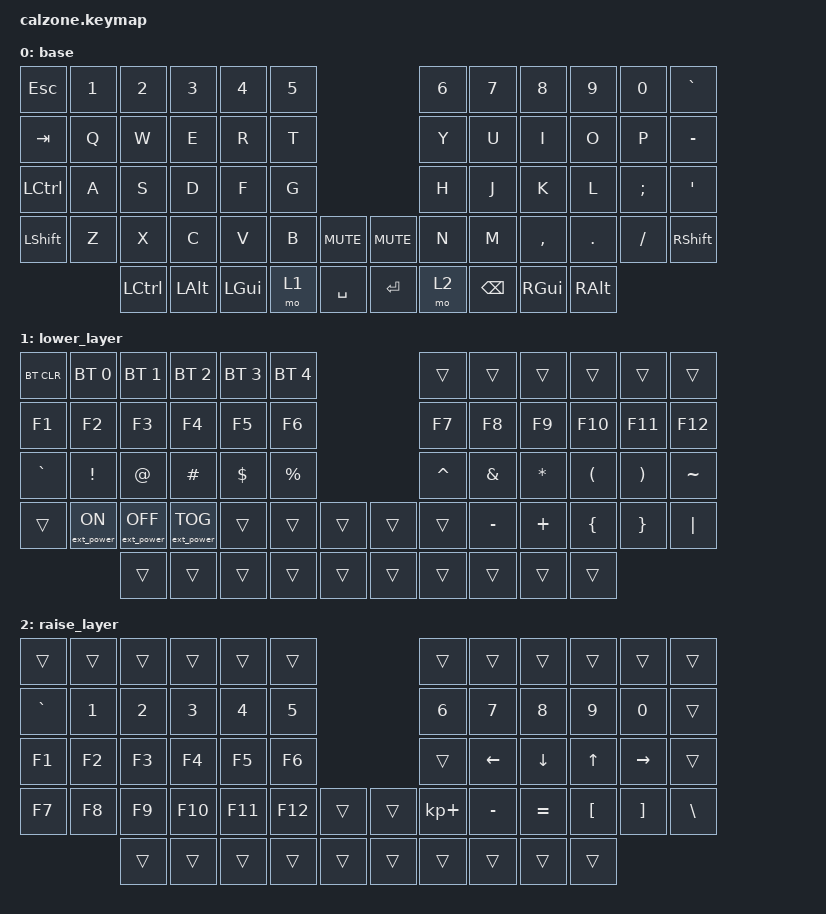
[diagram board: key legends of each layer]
#include <behaviors.dtsi>
#include <dt-bindings/zmk/bt.h>
#include <dt-bindings/zmk/ext_power.h>
#include <dt-bindings/zmk/keys.h>

/ {
    combos {
        compatible = "zmk,combos";

        bt_sel_3 {
            bindings = <&bt3>;
            key-positions = <42 30>;
            layers = <2>;
        };

        bt_sel_4 {
            bindings = <&bt4>;
            key-positions = <30 18>;
            layers = <2>;
        };
    };

    macros {
        bt_clr_0: bt_clr_0 {
            compatible = "zmk,behavior-macro";
            #binding-cells = <0>;
            bindings = <&bt BT_SEL 0 &bt BT_CLR>;
            label = "BT_CLR_0";
        };

        bt_clr_1: bt_clr_1 {
            compatible = "zmk,behavior-macro";
            #binding-cells = <0>;
            bindings = <&bt BT_SEL 1 &bt BT_CLR>;
            label = "BT_CLR_1";
        };

        bt_clr_2: bt_clr_2 {
            compatible = "zmk,behavior-macro";
            #binding-cells = <0>;
            bindings = <&bt BT_SEL 2 &bt BT_CLR>;
            label = "BT_CLR_2";
        };

        bt_clr_3: bt_clr_3 {
            compatible = "zmk,behavior-macro";
            #binding-cells = <0>;
            bindings = <&bt BT_SEL 3 &bt BT_CLR>;
            label = "BT_CLR_3";
        };

        bt_clr_4: bt_clr_4 {
            compatible = "zmk,behavior-macro";
            #binding-cells = <0>;
            bindings = <&bt BT_SEL 4 &bt BT_CLR>;
            label = "BT_CLR_4";
        };
    };

    behaviors {
        bt0: bt0 {
            compatible = "zmk,behavior-mod-morph";
            label = "BT0";
            bindings = <&bt BT_SEL 0>, <&bt_clr_0>;

            #binding-cells = <0>;
            mods = <(MOD_LSFT|MOD_RSFT)>;
        };

        bt1: bt1 {
            compatible = "zmk,behavior-mod-morph";
            label = "BT1";
            bindings = <&bt BT_SEL 1>, <&bt_clr_1>;

            #binding-cells = <0>;
            mods = <(MOD_LSFT|MOD_RSFT)>;
        };

        bt2: bt2 {
            compatible = "zmk,behavior-mod-morph";
            label = "BT2";
            bindings = <&bt BT_SEL 2>, <&bt_clr_2>;

            #binding-cells = <0>;
            mods = <(MOD_LSFT|MOD_RSFT)>;
        };

        bt3: bt3 {
            compatible = "zmk,behavior-mod-morph";
            label = "BT3";
            bindings = <&bt BT_SEL 3>, <&bt_clr_3>;

            #binding-cells = <0>;
            mods = <(MOD_LSFT|MOD_RSFT)>;
        };

        bt4: bt4 {
            compatible = "zmk,behavior-mod-morph";
            label = "BT4";
            bindings = <&bt BT_SEL 4>, <&bt_clr_4>;

            #binding-cells = <0>;
            mods = <(MOD_LSFT|MOD_RSFT)>;
        };
    };

    keymap {
        compatible = "zmk,keymap";

        base {
            bindings = <
&kp ESC   &kp N1 &kp N2    &kp N3   &kp N4   &kp N5                       &kp N6 &kp N7   &kp N8    &kp N9   &kp N0   &kp GRAVE
&kp TAB   &kp Q  &kp W     &kp E    &kp R    &kp T                        &kp Y  &kp U    &kp I     &kp O    &kp P    &kp MINUS
&kp LCTRL &kp A  &kp S     &kp D    &kp F    &kp G                        &kp H  &kp J    &kp K     &kp L    &kp SEMI &kp SQT
&kp LSHFT &kp Z  &kp X     &kp C    &kp V    &kp B  &kp C_MUTE &kp C_MUTE &kp N  &kp M    &kp COMMA &kp DOT  &kp FSLH &kp RSHFT
                 &kp LCTRL &kp LALT &kp LGUI &mo 1  &kp SPACE  &kp RET    &mo 2  &kp BSPC &kp RGUI  &kp RALT
            >;
        };

        lower_layer {
// ------------------------------------------------------------------------------------------------------------
// | BTCLR | BT1 | BT2 |  BT3 |  BT4 |  BT5 |                   |      |       |       |      |       |       |
// |  F1   |  F2 |  F3 |  F4  |  F5  |  F6  |                   |  F7  |  F8   |  F9   |  F10 |  F11  |  F12  |
// |   `   |  !  |  @  |  #   |  $   |  %   |                   |  ^   |  &    |  *    |  (   |   )   |   ~   |
// |       |     |     |      |      |      |        |  |       |      |  _    |  +    |  {   |   }   |  "|"  |
//               |     |      |      |      |        |  |       |      |       |       |      |
            bindings = <
&bt BT_CLR &bt BT_SEL 0     &bt BT_SEL 1      &bt BT_SEL 2      &bt BT_SEL 3 &bt BT_SEL 4                 &trans    &trans    &trans    &trans    &trans    &trans
&kp F1     &kp F2           &kp F3            &kp F4            &kp F5       &kp F6                       &kp F7    &kp F8    &kp F9    &kp F10   &kp F11   &kp F12
&kp GRAVE  &kp EXCL         &kp AT            &kp HASH          &kp DOLLAR   &kp PRCNT                    &kp CARET &kp AMPS  &kp STAR  &kp LPAR  &kp RPAR  &kp TILDE
&trans     &ext_power EP_ON &ext_power EP_OFF &ext_power EP_TOG &trans       &trans    &trans   &trans    &trans    &kp MINUS &kp PLUS  &kp LBRC  &kp RBRC  &kp PIPE
                            &trans            &trans            &trans       &trans    &trans   &trans    &trans    &trans    &trans    &trans
            >;
        };

        raise_layer {
// ------------------------------------------------------------------------------------------------------------
// |       |     |     |      |      |      |                   |      |       |       |      |       |       |
// |   `   |  1  |  2  |  3   |  4   |  5   |                   |  6   |   7   |   8   |  9   |   0   |       |
// |   F1  |  F2 |  F3 |  F4  |  F5  |  F6  |                   |      |   <-  |   v   |  ^   |  ->   |       |
// |   F7  |  F8 |  F9 |  F10 |  F11 |  F12 |        |  |       |  +   |   -   |   =   |  [   |   ]   |   \   |
//               |     |      |      |      |        |  |       |      |       |       |      |
            bindings = <
&trans    &trans &trans &trans  &trans  &trans                       &trans      &trans    &trans    &trans   &trans    &trans
&kp GRAVE &kp N1 &kp N2 &kp N3  &kp N4  &kp N5                       &kp N6      &kp N7    &kp N8    &kp N9   &kp N0    &trans
&kp F1    &kp F2 &kp F3 &kp F4  &kp F5  &kp F6                       &trans      &kp LEFT  &kp DOWN  &kp UP   &kp RIGHT &trans
&kp F7    &kp F8 &kp F9 &kp F10 &kp F11 &kp F12   &trans   &trans    &kp KP_PLUS &kp MINUS &kp EQUAL &kp LBKT &kp RBKT  &kp BSLH
                 &trans &trans  &trans  &trans    &trans   &trans    &trans      &trans    &trans    &trans
            >;
        };
    };
};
